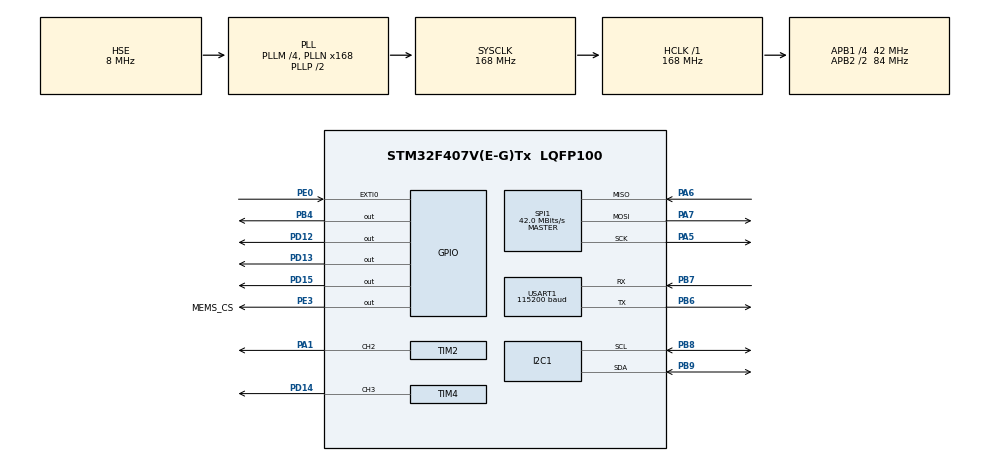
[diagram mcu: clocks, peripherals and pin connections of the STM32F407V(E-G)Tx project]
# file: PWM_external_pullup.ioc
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I2C1.I2C_Mode=I2C_Fast
Mcu.Family=STM32F4
Mcu.Name=STM32F407V(E-G)Tx
Mcu.Package=LQFP100
NVIC.EXTI0_IRQn=true\:0\:0\:false\:false\:true\:true\:true
NVIC.PriorityGroup=NVIC_PRIORITYGROUP_0
NVIC.TIM1_TRG_COM_TIM11_IRQn=true\:0\:0\:false\:false\:true\:true\:true
NVIC.USART1_IRQn=true\:0\:0\:false\:false\:true\:true\:true
PA1.GPIO_ModeDefaultPP=GPIO_MODE_AF_OD
PA1.GPIO_PuPd=GPIO_NOPULL
PA1.Signal=S_TIM2_CH2
PA5.Mode=Full_Duplex_Master
PA5.Signal=SPI1_SCK
PA6.Mode=Full_Duplex_Master
PA6.Signal=SPI1_MISO
PA7.Mode=Full_Duplex_Master
PA7.Signal=SPI1_MOSI
PB4.Signal=GPIO_Output
PB6.Mode=Asynchronous
PB6.Signal=USART1_TX
PB7.Mode=Asynchronous
PB7.Signal=USART1_RX
PB8.Mode=I2C
PB8.Signal=I2C1_SCL
PB9.Mode=I2C
PB9.Signal=I2C1_SDA
PD12.Signal=GPIO_Output
PD13.Signal=GPIO_Output
PD14.GPIO_ModeDefaultPP=GPIO_MODE_AF_OD
PD14.GPIO_PuPd=GPIO_NOPULL
PD14.Signal=S_TIM4_CH3
PD15.Signal=GPIO_Output
PE0.Signal=GPXTI0
PE3.GPIO_Label=MEMS_CS
PE3.Signal=GPIO_Output
PH0-OSC_IN.Mode=HSE-External-Oscillator
PH0-OSC_IN.Signal=RCC_OSC_IN
PH1-OSC_OUT.Mode=HSE-External-Oscillator
PH1-OSC_OUT.Signal=RCC_OSC_OUT
ProjectManager.HeapSize=0x200
ProjectManager.StackSize=0x400
ProjectManager.TargetToolchain=MDK-ARM V5
RCC.48MHZClocksFreq_Value=48000000
RCC.AHBFreq_Value=168000000
RCC.APB1CLKDivider=RCC_HCLK_DIV4
RCC.APB1Freq_Value=42000000
RCC.APB1TimFreq_Value=84000000
RCC.APB2CLKDivider=RCC_HCLK_DIV2
RCC.APB2Freq_Value=84000000
RCC.APB2TimFreq_Value=168000000
RCC.CortexFreq_Value=168000000
RCC.HCLKFreq_Value=168000000
RCC.HSE_VALUE=8000000
RCC.HSI_VALUE=16000000
RCC.LSE_VALUE=32768
RCC.PLLM=4
RCC.PLLN=168
RCC.PLLQ=7
RCC.PLLSourceVirtual=RCC_PLLSOURCE_HSE
RCC.SYSCLKFreq_VALUE=168000000
RCC.SYSCLKSource=RCC_SYSCLKSOURCE_PLLCLK
RCC.VCOOutputFreq_Value=336000000
SH.S_TIM2_CH2.0=TIM2_CH2,PWM Generation2 CH2
SH.S_TIM4_CH3.0=TIM4_CH3,PWM Generation3 CH3
SPI1.BaudRatePrescaler=SPI_BAUDRATEPRESCALER_2
SPI1.CalculateBaudRate=42.0 MBits/s
SPI1.Direction=SPI_DIRECTION_2LINES
SPI1.Mode=SPI_MODE_MASTER
SPI1.VirtualType=VM_MASTER
TIM11.Period=8399
TIM11.Prescaler=9999
TIM2.Channel-PWM\ Generation2\ CH2=TIM_CHANNEL_2
TIM2.Period=999
TIM2.Prescaler=1679
TIM4.Channel-PWM\ Generation3\ CH3=TIM_CHANNEL_3
TIM4.Period=999
TIM4.Prescaler=1679
USART1.BaudRate=115200
USART1.VirtualMode=VM_ASYNC
VP_TIM11_VS_ClockSourceINT.Mode=Enable_Timer
VP_TIM2_VS_ClockSourceINT.Mode=Internal
VP_TIM4_VS_ClockSourceINT.Mode=Internal
board=STM32F4DISCOVERY

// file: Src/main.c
/* USER CODE BEGIN Header */
/**
  ******************************************************************************
  * @file           : main.c
  * @brief          : Main program body
  ******************************************************************************
  * Source code of spherical robot 'SPHERE' constructed by Adrian Luberda on
	* AGH University of Science in Technology as part of Engineering and
	* Master Thesis in years: 2018 - 2020.
	*
	* This is the final version of the code.
  *
  ******************************************************************************
  */
/* USER CODE END Header */

#include "main.h"

/* USER CODE BEGIN Includes */
#include "stm32f4xx_hal.h"
#include "i2c.h"
#include <string.h>
#include "gpio.h"
#include "mpu6050.h"
#include "MadgwickAHRS.h"
#include <math.h>
#define M_PI 3.14159265358979323846
//#include "stdlib.h"
//#include "stdint.h" // makes uint8_t available

/* USER CODE END Includes */

I2C_HandleTypeDef hi2c1;

SPI_HandleTypeDef hspi1;

TIM_HandleTypeDef htim2;
TIM_HandleTypeDef htim4;
TIM_HandleTypeDef htim11;

UART_HandleTypeDef huart1;

/* USER CODE BEGIN PV */
uint8_t received_data1;
uint8_t received_data[4];

int16_t acc_x, acc_y, acc_z, gyr_x, gyr_y, gyr_z;
float ax, ay, az, gx, gy, gz, temperature, roll, pitch;
//float q0_mah, q1_mah, q2_mah, q3_mah;
//float q0_mad, q1_mad, q2_mad, q3_mad;
uint8_t buffer[128];
uint8_t send_data[50];
uint16_t size = 0;

double KalmanXD, KalmanYD;

//Variables for Madgwick filter
//const float PI=3.14159265358979;
//volatile float beta;
//volatile float q0, q1, q2, q3;
//uint8_t data[5];
float Yaw_m,Pitch_m,Roll_m;

//Variables from complementary filter
//float pitch_comp, roll_comp;
//float pitchGyro, pitchAccel;

MPU6050_t MPU6050;

/* USER CODE END PV */

void SystemClock_Config(void);
static void MX_GPIO_Init(void);
static void MX_TIM4_Init(void);
static void MX_USART1_UART_Init(void);
static void MX_TIM11_Init(void);
static void MX_TIM2_Init(void);
static void MX_SPI1_Init(void);
static void MX_I2C1_Init(void);
/* USER CODE BEGIN PFP */

//PRZERWANIE - odbiСr danych z uarta (wiele znakСw, sterowanie predkoscia i kierunkiem)
void HAL_UART_RxCpltCallback(UART_HandleTypeDef *huart) {
	//uint8_t send_data[50];
	//uint16_t size = 0;

	uint8_t servo = received_data[0]; // S - bez blokady, T - z blokada
	uint8_t direction = received_data[1]; //Left, Right, albo Forward, Reverse
	int speed = atoi(&received_data[2]);// + atoi(&received_data[3]); //  0-99% ???

	//TIM4->CCR3 = 74; 		// Servo bez blokady: 40-0.8ms, 50-1.0ms, 80-1.6ms, 100-2.0ms, 110-2.2ms  74- STOP
	//TIM2->CCR2 = 56; // Servo z blokada: 20-0.4ms, 130-2.6ms  32- lewe skrajne, 56-srodek, 80-prawe skrajne

	if(servo == 'S' || servo == 's') { //jezeli chcemy sterowac predkoscia [S]peed
		if( direction == 'F' || direction == 'f'){    //jazda do przodu [F]orward
			TIM4->CCR3 = (int)(74 - (34 * speed/100)); //zadajemy predkosc proporcjonalna do zadanej wahadla bez blokady
			//size = sprintf(send_data, "SF%d, TIM4: %d\n", speed, TIM4->CCR3);
		}
		else if(direction == 'R' || direction == 'r') {      //jazda do tylu [R]everse
			TIM4->CCR3 = (int)(74 + (34 * speed/100)); //zadajemy predkosc proporcjonalna do zadanej wahadla bez blokady
			//size = sprintf(send_data, "SR%d, TIM4: %d\n", speed, TIM4->CCR3);
		}
		else{		// znaki inne niz przewidziane
			//size = sprintf(send_data, "Odebrana wiadomosc zawiera nieznane znaki!\n");
		}
	}
	else if(servo == 'T' || servo == 't'){        // jezeli chcemy skrecac [T]urn
		if(direction == 'R' || direction == 'r'){   // skrecamy w prawo [R]ight
			TIM2->CCR2 = (int)(56 - (30 * speed/100));
			//size = sprintf(send_data, "TR%d, TIM2: %d\n", speed, TIM2->CCR2);
		}
		else if(direction == 'L' || direction == 'l') {    //skrecamy w lewo [L]eft
			TIM2->CCR2 = (int)(56 + (30 * speed/100));
			//size = sprintf(send_data, "TL%d, TIM2: %d\n", speed, TIM2->CCR2);
		}
		else{   // znaki inne niz przewidziane
			//size = sprintf(send_data, "Odebrana wiadomosc zawiera nieznane znaki!\n");
		}
	}
	else {  // znaki inne niz przewidziane
		//size = sprintf(send_data, "Odebrana wiadomosc zawiera nieznane znaki!\n");
	}

	//size = sprintf(send_data, "Roll: %f.2f  Pitch: %f.2f \n", roll, pitch);

	//size = sprintf(send_data, "Odebrana wiadomosc: '%s'\n\r", received_data);
	//wyslanie przygotowanej wiadomosci
	//HAL_UART_Transmit_IT(&huart1, send_data, size);
  //Ponowne wlaczenie nasluchiwania
  HAL_UART_Receive_IT(&huart1, received_data, 4);
   //Dioda informujaca o tym ze UART odebral dane
	HAL_GPIO_TogglePin(GPIOD, GPIO_PIN_15);
}

//funkcja wysylajaca dane do komputera z czestotliwoscia 1Hz (przerwanie od timera)
//void HAL_TIM_PeriodElapsedCallback(TIM_HandleTypeDef *htim) {
//	uint8_t data[50];// Tablica przechowujaca wysylana wiadomosc.
//	uint16_t size = 0; // Rozmiar wysylanej wiadomosci
////static uint16_t cnt = 0; // Licznik wyslanych wiadomosci
//
//	//HAL_GPIO_TogglePin(GPIOD, GPIO_PIN_13); // Zmiana stanu pinu na diodzie LED (pomaranczowej)
//	size = sprintf(send_data, "%.2f,%.2f,%.2f \n", roll_comp, pitchGyro, pitchAccel);
//	//size = sprintf(data, "Roll: %f  Pitch: %f \n", roll, pitch);  // Wiadomosc do wyslania i przypisanie ilosci wysylanych znakow do zmiennej size.
////
//	HAL_UART_Transmit_IT(&huart1, data, size); // Rozpoczecie nadawania danych z wykorzystaniem przerwan
////	HAL_UART_Receive_IT(&huart1, received_data, 4);
////	//++cnt; // Zwiekszenie licznika wyslanych wiadomosci.
//}

//void ComplementaryFilter(MPU6050_t *DataStruct, float* roll, float* pitch, float* rollGyro, float* rollAccel)
//{
//	//float accel_sensitivity = 16384.0;
//	//float gyro_sensitivity = 131.0;
//	//float acc_x, acc_y, acc_z;
//	//uint32_t timer;
//	float dt = 0.02;
//	//float dt = (float) (HAL_GetTick() - timer) / 1000; 		//20ms sample rate
//	//timer = HAL_GetTick();
//	float pitchAcc, rollAcc;
//
//	double gyr_x, gyr_y, gyr_z;
//	int16_t acc_x_raw, acc_y_raw, acc_z_raw;
//
//	gyr_x = MPU6050.Gx;
//	gyr_y = MPU6050.Gy;
//	gyr_z = MPU6050.Gz;
//
//	acc_x_raw = MPU6050.Accel_X_RAW;
//	acc_y_raw = MPU6050.Accel_Y_RAW;
//	acc_z_raw = MPU6050.Accel_Z_RAW;
//
//	//Integrate gyroscope data -> int(angularSpeed)=angle
//	//*pitchGyro += gyr_x *dt;
//	*rollGyro -= gyr_y *dt;
//	*pitch += gyr_x * dt; // Angle around the X-axis
//	*roll -= gyr_y *dt;   // Angle around the Y-axis
//
//	// Compensate for drift with accelerometer data if !bullshit
//  // Sensitivity = -2 to 2 G at 16Bit -> 2G = 32768 && 0.5G = 8192
//	int forceMagnitudeApprox = abs(acc_x_raw) + abs(acc_y_raw) + abs(acc_z_raw);
//
//	if(forceMagnitudeApprox > 8192 && forceMagnitudeApprox < 32768)		// 8192 = (0.5*(1/Acc_Scale)) 32768 = 4*8192
//	{
//		// Turning around the X axis results in a vector on the Y-axis
//		//*pitchAccel = atan2f((float)acc_y_raw, (float)acc_z_raw) * 180/M_PI;
//		pitchAcc = atan2f((float)acc_y_raw, (float)acc_z_raw) * 180/M_PI; 		//atan2f(floats) is a sigle precision version of atan2(doubles)
//		*pitch = *pitch * 0.98 + pitchAcc * 0.02;

//		// Turning around the Y axis results in a vector on the X-axis
//		rollAcc = atan2f((float)acc_x_raw, (float)acc_z_raw) * 180/M_PI;
//		*rollAccel = atan2f((float)acc_x_raw, (float)acc_z_raw) * 180/M_PI;
//		*roll = *roll * 0.978 + rollAcc * 0.022;
//	}
//}

/* USER CODE END PFP */

int main(void)
{

  /* MCU Configuration--------------------------------------------------------*/

  /* Reset of all peripherals, Initializes the Flash interface and the Systick. */
  HAL_Init();

  /* Configure the system clock */
  SystemClock_Config();

  /* Initialize all configured peripherals */
  MX_GPIO_Init();
  MX_TIM4_Init();
  MX_USART1_UART_Init();
  MX_TIM11_Init();
  MX_TIM2_Init();
  MX_SPI1_Init();
  MX_I2C1_Init();
  /* USER CODE BEGIN 2 */
	HAL_TIM_PWM_Start(&htim4, TIM_CHANNEL_3);
	HAL_TIM_PWM_Start(&htim2, TIM_CHANNEL_2);
	HAL_TIM_Base_Start_IT(&htim11);
	HAL_UART_Receive_IT(&huart1, received_data, 4); //odbieramy 4 znaki z uart1 i zapisujemy do received_data
	TIM4->CCR3 = 74;
	//TIM4->CCR3 = 74; 		// Servo bez blokady: 40-0.8ms, 50-1.0ms, 80-1.6ms, 100-2.0ms, 110-2.2ms  74- STOP
	TIM2->CCR2 = 56; // Servo z blokada: 20-0.4ms, 130-2.6ms  32- lewe skrajne, 56-srodek, 80-prawe skrajne
	HAL_GPIO_WritePin(GPIOB, GPIO_PIN_4, GPIO_PIN_SET);

	MPU6050_Init(&hi2c1);

// IMU Functions:
	//MPU6050_Init(&hi2c1);

  //MPU6050_SetInterruptMode(MPU6050_INTMODE_ACTIVEHIGH);
  //MPU6050_SetInterruptDrive(MPU6050_INTDRV_PUSHPULL);
  //MPU6050_SetInterruptLatch(MPU6050_INTLATCH_WAITCLEAR);
  //MPU6050_SetInterruptLatchClear(MPU6050_INTCLEAR_STATUSREAD);

  //MPU6050_SetIntEnableRegister(0); // Disable all interrupts

  // Enable Motion interrputs, possibly unnecessary
  //MPU6050_SetDHPFMode(MPU6050_DHPF_5);

  //MPU6050_SetIntMotionEnabled(1);
  //MPU6050_SetIntZeroMotionEnabled(1);
  //MPU6050_SetIntFreeFallEnabled(1);

 // MPU6050_SetFreeFallDetectionDuration(2);
  //MPU6050_SetFreeFallDetectionThreshold(5);

 // MPU6050_SetMotionDetectionDuration(5);
 // MPU6050_SetMotionDetectionThreshold(2);

 // MPU6050_SetZeroMotionDetectionDuration(2);
  //MPU6050_SetZeroMotionDetectionThreshold(4);

  /* USER CODE END 2 */

  /* Infinite loop */
  /* USER CODE BEGIN WHILE */
  while (1){
  /*
		HAL_Delay(1000);
		TIM2->CCR2 = 32;
		HAL_Delay(1000);
		TIM2->CCR2 = 56;
		HAL_Delay(1000);
		TIM2->CCR2 = 80;
		HAL_Delay(1000);
		TIM2->CCR2 = 80;
		HAL_Delay(1000);
		TIM2->CCR2 = 100;
		HAL_Delay(1000);
		TIM2->CCR2 = 110;
		HAL_Delay(1000);
		TIM2->CCR2 = 130;*/

		//MPU6050_GetAccelerometerScaled(&ax, &ay, &az);
	  //MPU6050_GetGyroscopeScaled(&gx, &gy, &gz);
		//MPU6050_GetRollPitch(&roll, &pitch);

		//size = sprintf(send_data, "Roll: %.2f  Pitch: %.2f \n", roll, pitch);
		//size = sprintf(send_data, "%.2f,%.2f \n", roll, pitch);
		//size = sprintf(send_data, "%.2f,%.2f,%.2f\n", roll_comp, pitchGyro, pitchAccel);
		//size = sprintf(send_data, "%.2f,%.2f,%.2f,%.2f\n", roll, pitch, roll_comp, pitch_comp); //roll_comp is actually pitch_comp and vice versa
		//size = sprintf(send_data, "%.2f,%.2f,%.2f,%.2f,%.2f,%.2f,%.2f,%.2f\n", ax, ay, az, gx, gy, gz, roll_comp, pitch_comp);
		//size = sprintf(send_data, "%.2f,%.2f,%.2f\n", gx, ay, az);
		//size = sprintf(send_data, "%.2f,%.2f,%.2f\n", ay, az, gx);
		//HAL_UART_Transmit_IT(&huart1, send_data, size);

		//HAL_Delay(20); //can go down to 18-20

    /* USER CODE END WHILE */

    /* USER CODE BEGIN 3 */
		//KalmanXD = MPU6050.KalmanAngleX;
		//KalmanYD = MPU6050.KalmanAngleY;
		MPU6050_Read_All(&hi2c1, &MPU6050);
		ComplementaryFilter(&MPU6050, &roll, &pitch);
		//MadgwickAHRSupdateIMU(MPU6050.Gx, MPU6050.Gy, MPU6050.Gz, MPU6050.Ax, MPU6050.Ay, MPU6050.Az);
		Pitch_m=100*(-asin (2*(q1*q3 - q0*q2)));

//		//roll
//		double sinr_cosp = 2 * (q0 * q1 + q2 * q3);
//    double cosr_cosp = 1 - 2 * (q1 * q1 + q2 * q2);
//    roll = atan2(sinr_cosp, cosr_cosp);

//    // pitch (y-axis rotation)
//    double sinp = 2 * (q0 * q2 - q3 * q1);
//    if (abs(sinp) >= 1)
//        pitch = copysign(M_PI / 2, sinp); // use 90 degrees if out of range
//    else
//        pitch = asin(sinp);

		size = sprintf(send_data, "%.2f,%.2f,%.2f,%.2f \n", roll, pitch, MPU6050.KalmanAngleX, MPU6050.KalmanAngleY);
		HAL_UART_Transmit_IT(&huart1, send_data, size);
		HAL_Delay (25);
  }
  /* USER CODE END 3 */
}

void SystemClock_Config(void)
{
  RCC_OscInitTypeDef RCC_OscInitStruct = {0};
  RCC_ClkInitTypeDef RCC_ClkInitStruct = {0};

  /**Configure the main internal regulator output voltage
  */
  __HAL_RCC_PWR_CLK_ENABLE();
  __HAL_PWR_VOLTAGESCALING_CONFIG(PWR_REGULATOR_VOLTAGE_SCALE1);
  /**Initializes the CPU, AHB and APB busses clocks
  */
  RCC_OscInitStruct.OscillatorType = RCC_OSCILLATORTYPE_HSE;
  RCC_OscInitStruct.HSEState = RCC_HSE_ON;
  RCC_OscInitStruct.PLL.PLLState = RCC_PLL_ON;
  RCC_OscInitStruct.PLL.PLLSource = RCC_PLLSOURCE_HSE;
  RCC_OscInitStruct.PLL.PLLM = 4;
  RCC_OscInitStruct.PLL.PLLN = 168;
  RCC_OscInitStruct.PLL.PLLP = RCC_PLLP_DIV2;
  RCC_OscInitStruct.PLL.PLLQ = 7;
  if (HAL_RCC_OscConfig(&RCC_OscInitStruct) != HAL_OK)
  {
    Error_Handler();
  }
  /**Initializes the CPU, AHB and APB busses clocks
  */
  RCC_ClkInitStruct.ClockType = RCC_CLOCKTYPE_HCLK|RCC_CLOCKTYPE_SYSCLK
                              |RCC_CLOCKTYPE_PCLK1|RCC_CLOCKTYPE_PCLK2;
  RCC_ClkInitStruct.SYSCLKSource = RCC_SYSCLKSOURCE_PLLCLK;
  RCC_ClkInitStruct.AHBCLKDivider = RCC_SYSCLK_DIV1;
  RCC_ClkInitStruct.APB1CLKDivider = RCC_HCLK_DIV4;
  RCC_ClkInitStruct.APB2CLKDivider = RCC_HCLK_DIV2;

  if (HAL_RCC_ClockConfig(&RCC_ClkInitStruct, FLASH_LATENCY_5) != HAL_OK)
  {
    Error_Handler();
  }
}

static void MX_I2C1_Init(void)
{

  hi2c1.Instance = I2C1;
  hi2c1.Init.ClockSpeed = 400000;
  hi2c1.Init.DutyCycle = I2C_DUTYCYCLE_2;
  hi2c1.Init.OwnAddress1 = 0;
  hi2c1.Init.AddressingMode = I2C_ADDRESSINGMODE_7BIT;
  hi2c1.Init.DualAddressMode = I2C_DUALADDRESS_DISABLE;
  hi2c1.Init.OwnAddress2 = 0;
  hi2c1.Init.GeneralCallMode = I2C_GENERALCALL_DISABLE;
  hi2c1.Init.NoStretchMode = I2C_NOSTRETCH_DISABLE;
  if (HAL_I2C_Init(&hi2c1) != HAL_OK)
  {
    Error_Handler();
  }

}

static void MX_SPI1_Init(void)
{

  /* SPI1 parameter configuration*/
  hspi1.Instance = SPI1;
  hspi1.Init.Mode = SPI_MODE_MASTER;
  hspi1.Init.Direction = SPI_DIRECTION_2LINES;
  hspi1.Init.DataSize = SPI_DATASIZE_8BIT;
  hspi1.Init.CLKPolarity = SPI_POLARITY_LOW;
  hspi1.Init.CLKPhase = SPI_PHASE_1EDGE;
  hspi1.Init.NSS = SPI_NSS_SOFT;
  hspi1.Init.BaudRatePrescaler = SPI_BAUDRATEPRESCALER_2;
  hspi1.Init.FirstBit = SPI_FIRSTBIT_MSB;
  hspi1.Init.TIMode = SPI_TIMODE_DISABLE;
  hspi1.Init.CRCCalculation = SPI_CRCCALCULATION_DISABLE;
  hspi1.Init.CRCPolynomial = 10;
  if (HAL_SPI_Init(&hspi1) != HAL_OK)
  {
    Error_Handler();
  }

}

static void MX_TIM2_Init(void)
{

  TIM_ClockConfigTypeDef sClockSourceConfig = {0};
  TIM_MasterConfigTypeDef sMasterConfig = {0};
  TIM_OC_InitTypeDef sConfigOC = {0};

  htim2.Instance = TIM2;
  htim2.Init.Prescaler = 1679;
  htim2.Init.CounterMode = TIM_COUNTERMODE_UP;
  htim2.Init.Period = 999;
  htim2.Init.ClockDivision = TIM_CLOCKDIVISION_DIV1;
  if (HAL_TIM_Base_Init(&htim2) != HAL_OK)
  {
    Error_Handler();
  }
  sClockSourceConfig.ClockSource = TIM_CLOCKSOURCE_INTERNAL;
  if (HAL_TIM_ConfigClockSource(&htim2, &sClockSourceConfig) != HAL_OK)
  {
    Error_Handler();
  }
  if (HAL_TIM_PWM_Init(&htim2) != HAL_OK)
  {
    Error_Handler();
  }
  sMasterConfig.MasterOutputTrigger = TIM_TRGO_RESET;
  sMasterConfig.MasterSlaveMode = TIM_MASTERSLAVEMODE_DISABLE;
  if (HAL_TIMEx_MasterConfigSynchronization(&htim2, &sMasterConfig) != HAL_OK)
  {
    Error_Handler();
  }
  sConfigOC.OCMode = TIM_OCMODE_PWM1;
  sConfigOC.Pulse = 0;
  sConfigOC.OCPolarity = TIM_OCPOLARITY_HIGH;
  sConfigOC.OCFastMode = TIM_OCFAST_DISABLE;
  if (HAL_TIM_PWM_ConfigChannel(&htim2, &sConfigOC, TIM_CHANNEL_2) != HAL_OK)
  {
    Error_Handler();
  }
  HAL_TIM_MspPostInit(&htim2);

}

static void MX_TIM4_Init(void)
{

  TIM_ClockConfigTypeDef sClockSourceConfig = {0};
  TIM_MasterConfigTypeDef sMasterConfig = {0};
  TIM_OC_InitTypeDef sConfigOC = {0};

  htim4.Instance = TIM4;
  htim4.Init.Prescaler = 1679;
  htim4.Init.CounterMode = TIM_COUNTERMODE_UP;
  htim4.Init.Period = 999;
  htim4.Init.ClockDivision = TIM_CLOCKDIVISION_DIV1;
  if (HAL_TIM_Base_Init(&htim4) != HAL_OK)
  {
    Error_Handler();
  }
  sClockSourceConfig.ClockSource = TIM_CLOCKSOURCE_INTERNAL;
  if (HAL_TIM_ConfigClockSource(&htim4, &sClockSourceConfig) != HAL_OK)
  {
    Error_Handler();
  }
  if (HAL_TIM_PWM_Init(&htim4) != HAL_OK)
  {
    Error_Handler();
  }
  sMasterConfig.MasterOutputTrigger = TIM_TRGO_RESET;
  sMasterConfig.MasterSlaveMode = TIM_MASTERSLAVEMODE_DISABLE;
  if (HAL_TIMEx_MasterConfigSynchronization(&htim4, &sMasterConfig) != HAL_OK)
  {
    Error_Handler();
  }
  sConfigOC.OCMode = TIM_OCMODE_PWM1;
  sConfigOC.Pulse = 0;
  sConfigOC.OCPolarity = TIM_OCPOLARITY_HIGH;
  sConfigOC.OCFastMode = TIM_OCFAST_DISABLE;
  if (HAL_TIM_PWM_ConfigChannel(&htim4, &sConfigOC, TIM_CHANNEL_3) != HAL_OK)
  {
    Error_Handler();
  }
  HAL_TIM_MspPostInit(&htim4);

}

static void MX_TIM11_Init(void)
{

  htim11.Instance = TIM11;
  htim11.Init.Prescaler = 9999;
  htim11.Init.CounterMode = TIM_COUNTERMODE_UP;
  htim11.Init.Period = 8399;
  htim11.Init.ClockDivision = TIM_CLOCKDIVISION_DIV1;
  if (HAL_TIM_Base_Init(&htim11) != HAL_OK)
  {
    Error_Handler();
  }

}

static void MX_USART1_UART_Init(void)
{

  huart1.Instance = USART1;
  huart1.Init.BaudRate = 115200;
  huart1.Init.WordLength = UART_WORDLENGTH_8B;
  huart1.Init.StopBits = UART_STOPBITS_1;
  huart1.Init.Parity = UART_PARITY_NONE;
  huart1.Init.Mode = UART_MODE_TX_RX;
  huart1.Init.HwFlowCtl = UART_HWCONTROL_NONE;
  huart1.Init.OverSampling = UART_OVERSAMPLING_16;
  if (HAL_UART_Init(&huart1) != HAL_OK)
  {
    Error_Handler();
  }

}

static void MX_GPIO_Init(void)
{
  GPIO_InitTypeDef GPIO_InitStruct = {0};

  /* GPIO Ports Clock Enable */
  __HAL_RCC_GPIOE_CLK_ENABLE();
  __HAL_RCC_GPIOH_CLK_ENABLE();
  __HAL_RCC_GPIOA_CLK_ENABLE();
  __HAL_RCC_GPIOD_CLK_ENABLE();
  __HAL_RCC_GPIOB_CLK_ENABLE();

  /*Configure GPIO pin Output Level */
  HAL_GPIO_WritePin(MEMS_CS_GPIO_Port, MEMS_CS_Pin, GPIO_PIN_RESET);

  /*Configure GPIO pin Output Level */
  HAL_GPIO_WritePin(GPIOD, GPIO_PIN_12|GPIO_PIN_13|GPIO_PIN_15, GPIO_PIN_RESET);

  /*Configure GPIO pin Output Level */
  HAL_GPIO_WritePin(GPIOB, GPIO_PIN_4, GPIO_PIN_RESET);

  /*Configure GPIO pin : MEMS_CS_Pin */
  GPIO_InitStruct.Pin = MEMS_CS_Pin;
  GPIO_InitStruct.Mode = GPIO_MODE_OUTPUT_PP;
  GPIO_InitStruct.Pull = GPIO_NOPULL;
  GPIO_InitStruct.Speed = GPIO_SPEED_FREQ_LOW;
  HAL_GPIO_Init(MEMS_CS_GPIO_Port, &GPIO_InitStruct);

  /*Configure GPIO pins : PD12 PD13 PD15 */
  GPIO_InitStruct.Pin = GPIO_PIN_12|GPIO_PIN_13|GPIO_PIN_15;
  GPIO_InitStruct.Mode = GPIO_MODE_OUTPUT_PP;
  GPIO_InitStruct.Pull = GPIO_NOPULL;
  GPIO_InitStruct.Speed = GPIO_SPEED_FREQ_LOW;
  HAL_GPIO_Init(GPIOD, &GPIO_InitStruct);

  /*Configure GPIO pin : PB4 */
  GPIO_InitStruct.Pin = GPIO_PIN_4;
  GPIO_InitStruct.Mode = GPIO_MODE_OUTPUT_PP;
  GPIO_InitStruct.Pull = GPIO_NOPULL;
  GPIO_InitStruct.Speed = GPIO_SPEED_FREQ_LOW;
  HAL_GPIO_Init(GPIOB, &GPIO_InitStruct);

  /*Configure GPIO pin : PE0 */
  GPIO_InitStruct.Pin = GPIO_PIN_0;
  GPIO_InitStruct.Mode = GPIO_MODE_IT_RISING;
  GPIO_InitStruct.Pull = GPIO_NOPULL;
  HAL_GPIO_Init(GPIOE, &GPIO_InitStruct);

  /* EXTI interrupt init*/
  HAL_NVIC_SetPriority(EXTI0_IRQn, 0, 0);
  HAL_NVIC_EnableIRQ(EXTI0_IRQn);

}

void Error_Handler(void)
{
}

/************************ (C) COPYRIGHT STMicroelectronics *****END OF FILE****/
